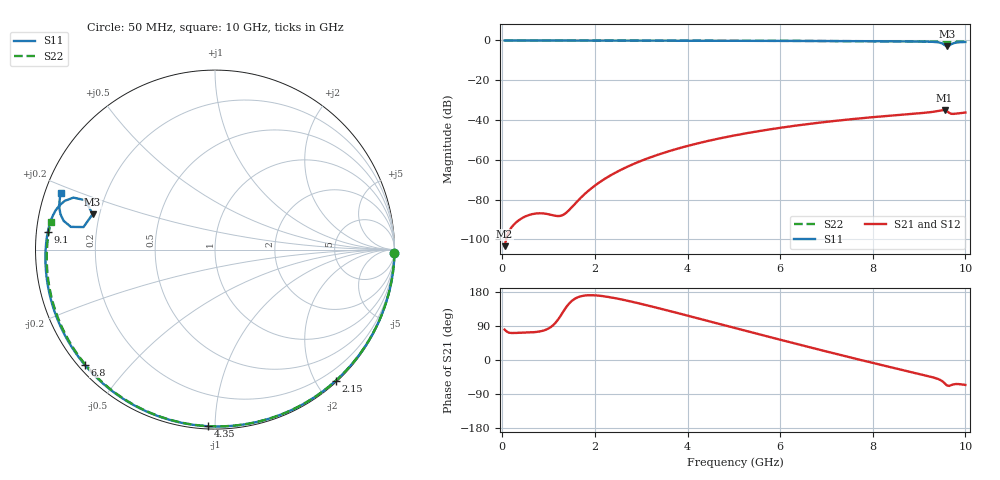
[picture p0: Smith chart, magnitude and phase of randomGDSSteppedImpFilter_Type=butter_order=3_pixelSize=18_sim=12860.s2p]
! freq	dB(S11)	phase(S11)	dB(S12)	phase(S12)
!  dB(S21)	phase(S21)	dB(S22)	phase(S22)
!S-par simulation data
#  GHz  S  DB  R 50
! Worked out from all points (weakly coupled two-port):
!   200 points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, 50 MHz to 10 GHz, reference 50 ohm
!   highest |S21| = -34.99 dB at 9.55 GHz (marker M1); lowest = -103.4 dB at 50 MHz (marker M2)
!   lowest |S11| = -3.0 dB at 9.6 GHz (marker M3), VSWR 5.90, Z = 8.64 + j6.88 ohm
!   |S11| at or under -10 dB: nowhere
!   |S22| runs from -0.6 to 0.0 dB; largest |S21 - S12| = 0
!   S11 on the Smith chart (normalised r, x): 50 MHz: open; 2.15 GHz: 0.02, -2.28; 4.35 GHz: 0.01, -0.96; 6.8 GHz: 0.02, -0.38; 9.1 GHz: 0.03, +0.05; 10 GHz: 0.05, +0.18
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0.05  -0.00 -1.1  -103.43 80.4  -103.43 80.4  -0.00 -1.0
0.8  -0.02 -18.0  -86.90 75.1  -86.90 75.1  -0.02 -16.4
1.65  -0.05 -36.6  -80.13 166.4  -80.13 166.4  -0.04 -33.4
1.75  -0.05 -38.8  -77.84 169.6  -77.84 169.6  -0.04 -35.4
2.15  -0.06 -47.4  -70.52 168.9  -70.52 168.9  -0.05 -43.3
2.7  -0.08 -59.0  -63.50 156.5  -63.50 156.5  -0.07 -53.9
3.4  -0.10 -73.3  -57.15 136.0  -57.15 136.0  -0.09 -67.2
4.35  -0.13 -92.2  -51.01 105.9  -51.01 105.9  -0.12 -84.6
5.05  -0.16 -105.6  -47.59 83.6  -47.59 83.6  -0.15 -97.2
5.85  -0.21 -120.7  -44.44 58.2  -44.44 58.2  -0.19 -111.3
6.7  -0.27 -136.7  -41.74 31.7  -41.74 31.7  -0.25 -126.2
6.8  -0.27 -138.6  -41.46 28.6  -41.46 28.6  -0.26 -127.9
7.6  -0.35 -154.0  -39.44 4.3  -39.44 4.3  -0.33 -142.1
8.35  -0.43 -169.0  -37.87 -18.0  -37.87 -18.0  -0.41 -155.9
9.1  -0.57 173.9  -36.41 -39.7  -36.41 -39.7  -0.50 -170.4
9.4  -0.90 164.2  -35.52 -49.7  -35.52 -49.7  -0.55 -176.6
9.55  -2.25 159.2  -34.99 -61.1  -34.99 -61.1  -0.57 -179.8
9.6  -2.97 163.9  -35.49 -67.1  -35.49 -67.1  -0.58 179.2
9.65  -2.58 170.3  -36.42 -68.5  -36.42 -68.5  -0.59 178.1
9.7  -1.80 171.0  -36.90 -66.0  -36.90 -66.0  -0.59 177.0
9.8  -1.08 167.1  -36.78 -63.4  -36.78 -63.4  -0.61 174.8
10  -0.78 159.9  -36.26 -65.8  -36.26 -65.8  -0.65 170.3
